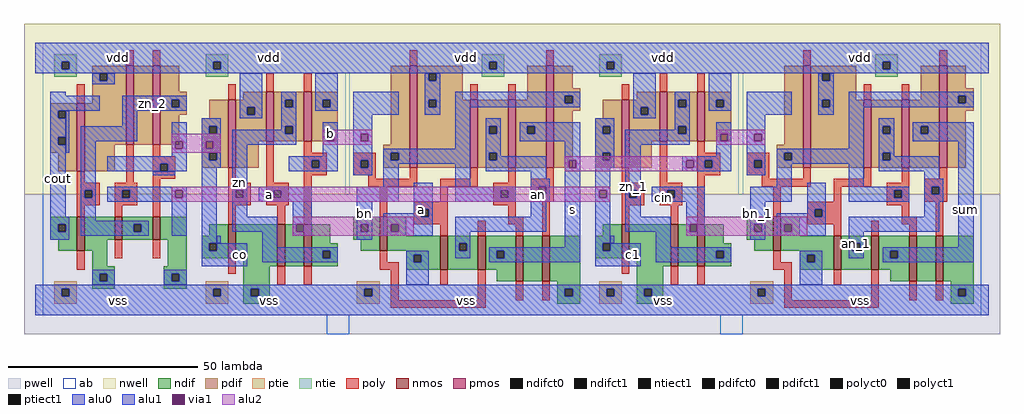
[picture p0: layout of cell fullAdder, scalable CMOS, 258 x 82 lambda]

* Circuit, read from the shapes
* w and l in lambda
.subckt fullAdder a an an_1 b bn bn_1 c1 cin co cout s sum vdd vss zn zn_1 zn_2
M1 vss zn_2 cout vss nfet w=9 l=2
M2 zn_2 c1 vss vss nfet w=6 l=2
M3 vss co zn_2 vss nfet w=6 l=2
M4 vss zn co vss nfet w=9 l=2
M5 n1 a vss vss nfet w=11 l=2
M6 zn b n1 vss nfet w=11 l=2
M7 vss b bn vss nfet w=9 l=2
M8 an a vss vss nfet w=9 l=2
M9 s b an vss nfet w=9 l=2
M10 n2 bn s vss nfet w=12 l=2
M11 vss an n2 vss nfet w=12 l=2
M12 vss zn_1 c1 vss nfet w=9 l=2
M13 n3 cin vss vss nfet w=11 l=2
M14 zn_1 s n3 vss nfet w=11 l=2
M15 vss s bn_1 vss nfet w=9 l=2
M16 an_1 cin vss vss nfet w=9 l=2
M17 sum s an_1 vss nfet w=9 l=2
M18 n4 bn_1 sum vss nfet w=12 l=2
M19 vss an_1 n4 vss nfet w=12 l=2
M20 vdd zn_2 cout vdd pfet w=18 l=2
M21 n5 c1 vdd vdd pfet w=21 l=2
M22 zn_2 co n5 vdd pfet w=21 l=2
M23 vdd zn co vdd pfet w=18 l=2
M24 zn a vdd vdd pfet w=13 l=2
M25 vdd b zn vdd pfet w=13 l=2
M26 vdd b bn vdd pfet w=27 l=2
M27 an a vdd vdd pfet w=18 l=2
M28 s bn an vdd pfet w=18 l=2
M29 bn an s vdd pfet w=27 l=2
M30 vdd zn_1 c1 vdd pfet w=18 l=2
M31 zn_1 cin vdd vdd pfet w=13 l=2
M32 vdd s zn_1 vdd pfet w=13 l=2
M33 vdd s bn_1 vdd pfet w=27 l=2
M34 an_1 cin vdd vdd pfet w=18 l=2
M35 sum bn_1 an_1 vdd pfet w=18 l=2
M36 bn_1 an_1 sum vdd pfet w=27 l=2
.ends

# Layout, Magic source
magic
tech scmos
<< ab >>
rect -35 69 213 77
rect -35 37 45 69
rect 46 37 149 69
rect 150 37 213 69
rect -35 5 213 37
rect 40 0 46 5
rect 144 0 150 5
<< nwell >>
rect -40 37 218 82
<< pwell >>
rect -40 0 218 37
<< poly >>
rect -13 71 -11 75
rect -6 71 -4 75
rect -26 61 -24 66
rect 62 71 64 75
rect 14 62 16 66
rect 24 64 26 69
rect 34 64 36 69
rect -26 40 -24 43
rect -13 40 -11 50
rect -6 47 -4 50
rect -6 45 0 47
rect -6 43 -4 45
rect -2 43 0 45
rect -6 41 0 43
rect -26 38 -20 40
rect -26 36 -24 38
rect -22 36 -20 38
rect -26 34 -20 36
rect -16 38 -10 40
rect -16 36 -14 38
rect -12 36 -10 38
rect -16 34 -10 36
rect -26 31 -24 34
rect -16 31 -14 34
rect -6 31 -4 41
rect 14 40 16 44
rect 24 40 26 51
rect 34 48 36 51
rect 34 46 40 48
rect 34 44 36 46
rect 38 44 40 46
rect 34 42 40 44
rect 47 46 53 48
rect 47 44 49 46
rect 51 44 53 46
rect 98 71 100 75
rect 78 62 80 66
rect 88 62 90 66
rect 166 71 168 75
rect 118 62 120 66
rect 128 64 130 69
rect 138 64 140 69
rect 47 42 53 44
rect 14 38 20 40
rect 14 36 16 38
rect 18 36 20 38
rect 14 34 20 36
rect 24 38 30 40
rect 24 36 26 38
rect 28 36 30 38
rect 24 34 30 36
rect 14 29 16 34
rect 27 29 29 34
rect 34 29 36 42
rect 51 41 53 42
rect 62 41 64 44
rect 78 41 80 44
rect 51 39 64 41
rect 70 39 80 41
rect 88 40 90 44
rect 98 41 100 44
rect 54 31 56 39
rect 70 35 72 39
rect 63 33 72 35
rect 84 38 90 40
rect 84 36 86 38
rect 88 36 90 38
rect 84 34 90 36
rect 94 39 100 41
rect 94 37 96 39
rect 98 37 100 39
rect 94 35 100 37
rect 118 40 120 44
rect 128 40 130 51
rect 138 48 140 51
rect 138 46 144 48
rect 138 44 140 46
rect 142 44 144 46
rect 138 42 144 44
rect 151 46 157 48
rect 151 44 153 46
rect 155 44 157 46
rect 202 71 204 75
rect 182 62 184 66
rect 192 62 194 66
rect 151 42 157 44
rect 118 38 124 40
rect 118 36 120 38
rect 122 36 124 38
rect 63 31 65 33
rect 67 31 72 33
rect -26 17 -24 22
rect -16 20 -14 25
rect -6 20 -4 25
rect 14 16 16 20
rect 63 29 72 31
rect 88 31 90 34
rect 70 26 72 29
rect 80 26 82 30
rect 88 29 92 31
rect 90 26 92 29
rect 97 26 99 35
rect 118 34 124 36
rect 128 38 134 40
rect 128 36 130 38
rect 132 36 134 38
rect 128 34 134 36
rect 118 29 120 34
rect 131 29 133 34
rect 138 29 140 42
rect 155 41 157 42
rect 166 41 168 44
rect 182 41 184 44
rect 155 39 168 41
rect 174 39 184 41
rect 192 40 194 44
rect 202 41 204 44
rect 158 31 160 39
rect 174 35 176 39
rect 167 33 176 35
rect 188 38 194 40
rect 188 36 190 38
rect 192 36 194 38
rect 188 34 194 36
rect 198 39 204 41
rect 198 37 200 39
rect 202 37 204 39
rect 198 35 204 37
rect 167 31 169 33
rect 171 31 176 33
rect 54 19 56 22
rect 27 13 29 18
rect 34 13 36 18
rect 54 17 59 19
rect 57 9 59 17
rect 70 13 72 17
rect 80 9 82 17
rect 118 16 120 20
rect 167 29 176 31
rect 192 31 194 34
rect 174 26 176 29
rect 184 26 186 30
rect 192 29 196 31
rect 194 26 196 29
rect 201 26 203 35
rect 158 19 160 22
rect 90 9 92 14
rect 97 9 99 14
rect 57 7 82 9
rect 131 13 133 18
rect 138 13 140 18
rect 158 17 163 19
rect 161 9 163 17
rect 174 13 176 17
rect 184 9 186 17
rect 194 9 196 14
rect 201 9 203 14
rect 161 7 186 9
<< ndif >>
rect -33 29 -26 31
rect -33 27 -31 29
rect -29 27 -26 29
rect -33 25 -26 27
rect -31 22 -26 25
rect -24 25 -16 31
rect -14 29 -6 31
rect -14 27 -11 29
rect -9 27 -6 29
rect -14 25 -6 27
rect -4 25 3 31
rect 47 29 54 31
rect 9 26 14 29
rect -24 22 -18 25
rect -22 18 -18 22
rect -2 18 3 25
rect 7 24 14 26
rect 7 22 9 24
rect 11 22 14 24
rect 7 20 14 22
rect 16 20 27 29
rect -22 16 -16 18
rect -22 14 -20 16
rect -18 14 -16 16
rect -22 12 -16 14
rect -3 16 3 18
rect 18 18 27 20
rect 29 18 34 29
rect 36 24 41 29
rect 47 27 49 29
rect 51 27 54 29
rect 47 25 54 27
rect 36 22 43 24
rect 49 22 54 25
rect 56 26 61 31
rect 151 29 158 31
rect 113 26 118 29
rect 56 22 70 26
rect 36 20 39 22
rect 41 20 43 22
rect 36 18 43 20
rect 61 21 70 22
rect 61 19 63 21
rect 65 19 70 21
rect -3 14 -1 16
rect 1 14 3 16
rect -3 12 3 14
rect 18 12 25 18
rect 61 17 70 19
rect 72 24 80 26
rect 72 22 75 24
rect 77 22 80 24
rect 72 17 80 22
rect 82 22 90 26
rect 82 20 85 22
rect 87 20 90 22
rect 82 17 90 20
rect 18 10 20 12
rect 22 10 25 12
rect 18 8 25 10
rect 85 14 90 17
rect 92 14 97 26
rect 99 14 107 26
rect 111 24 118 26
rect 111 22 113 24
rect 115 22 118 24
rect 111 20 118 22
rect 120 20 131 29
rect 122 18 131 20
rect 133 18 138 29
rect 140 24 145 29
rect 151 27 153 29
rect 155 27 158 29
rect 151 25 158 27
rect 140 22 147 24
rect 153 22 158 25
rect 160 26 165 31
rect 160 22 174 26
rect 140 20 143 22
rect 145 20 147 22
rect 140 18 147 20
rect 165 21 174 22
rect 165 19 167 21
rect 169 19 174 21
rect 101 12 107 14
rect 101 10 103 12
rect 105 10 107 12
rect 101 8 107 10
rect 122 12 129 18
rect 165 17 174 19
rect 176 24 184 26
rect 176 22 179 24
rect 181 22 184 24
rect 176 17 184 22
rect 186 22 194 26
rect 186 20 189 22
rect 191 20 194 22
rect 186 17 194 20
rect 122 10 124 12
rect 126 10 129 12
rect 122 8 129 10
rect 189 14 194 17
rect 196 14 201 26
rect 203 14 211 26
rect 205 12 211 14
rect 205 10 207 12
rect 209 10 211 12
rect 205 8 211 10
<< pdif >>
rect -22 69 -13 71
rect -22 67 -20 69
rect -18 67 -13 69
rect -22 61 -13 67
rect -33 59 -26 61
rect -33 57 -31 59
rect -29 57 -26 59
rect -33 52 -26 57
rect -33 50 -31 52
rect -29 50 -26 52
rect -33 48 -26 50
rect -31 43 -26 48
rect -24 50 -13 61
rect -11 50 -6 71
rect -4 64 1 71
rect -4 62 3 64
rect 18 62 24 64
rect -4 60 -1 62
rect 1 60 3 62
rect -4 58 3 60
rect -4 50 1 58
rect 9 57 14 62
rect 7 55 14 57
rect 7 53 9 55
rect 11 53 14 55
rect -24 43 -16 50
rect 7 48 14 53
rect 7 46 9 48
rect 11 46 14 48
rect 7 44 14 46
rect 16 60 24 62
rect 16 58 19 60
rect 21 58 24 60
rect 16 51 24 58
rect 26 62 34 64
rect 26 60 29 62
rect 31 60 34 62
rect 26 55 34 60
rect 26 53 29 55
rect 31 53 34 55
rect 26 51 34 53
rect 36 62 43 64
rect 36 60 39 62
rect 41 60 43 62
rect 36 51 43 60
rect 16 44 22 51
rect 57 50 62 71
rect 55 48 62 50
rect 55 46 57 48
rect 59 46 62 48
rect 55 44 62 46
rect 64 69 76 71
rect 64 67 67 69
rect 69 67 76 69
rect 64 62 76 67
rect 93 62 98 71
rect 64 60 67 62
rect 69 60 78 62
rect 64 44 78 60
rect 80 55 88 62
rect 80 53 83 55
rect 85 53 88 55
rect 80 48 88 53
rect 80 46 83 48
rect 85 46 88 48
rect 80 44 88 46
rect 90 55 98 62
rect 90 53 93 55
rect 95 53 98 55
rect 90 44 98 53
rect 100 65 105 71
rect 100 63 107 65
rect 100 61 103 63
rect 105 61 107 63
rect 122 62 128 64
rect 100 59 107 61
rect 100 44 105 59
rect 113 57 118 62
rect 111 55 118 57
rect 111 53 113 55
rect 115 53 118 55
rect 111 48 118 53
rect 111 46 113 48
rect 115 46 118 48
rect 111 44 118 46
rect 120 60 128 62
rect 120 58 123 60
rect 125 58 128 60
rect 120 51 128 58
rect 130 62 138 64
rect 130 60 133 62
rect 135 60 138 62
rect 130 55 138 60
rect 130 53 133 55
rect 135 53 138 55
rect 130 51 138 53
rect 140 62 147 64
rect 140 60 143 62
rect 145 60 147 62
rect 140 51 147 60
rect 120 44 126 51
rect 161 50 166 71
rect 159 48 166 50
rect 159 46 161 48
rect 163 46 166 48
rect 159 44 166 46
rect 168 69 180 71
rect 168 67 171 69
rect 173 67 180 69
rect 168 62 180 67
rect 197 62 202 71
rect 168 60 171 62
rect 173 60 182 62
rect 168 44 182 60
rect 184 55 192 62
rect 184 53 187 55
rect 189 53 192 55
rect 184 48 192 53
rect 184 46 187 48
rect 189 46 192 48
rect 184 44 192 46
rect 194 55 202 62
rect 194 53 197 55
rect 199 53 202 55
rect 194 44 202 53
rect 204 65 209 71
rect 204 63 211 65
rect 204 61 207 63
rect 209 61 211 63
rect 204 59 211 61
rect 204 44 209 59
<< alu1 >>
rect -37 72 215 77
rect -37 70 -30 72
rect -28 70 10 72
rect 12 70 83 72
rect 85 70 114 72
rect 116 70 187 72
rect 189 70 215 72
rect -37 69 215 70
rect -33 63 -29 64
rect -33 59 -20 63
rect -33 57 -31 59
rect -33 52 -29 57
rect -33 50 -31 52
rect -33 31 -29 50
rect -1 51 3 56
rect -1 49 0 51
rect 2 49 3 51
rect -1 47 3 49
rect -18 45 3 47
rect -18 43 -4 45
rect -2 43 3 45
rect 7 55 12 57
rect 7 53 9 55
rect 11 53 12 55
rect 47 58 59 64
rect 7 51 12 53
rect 7 49 8 51
rect 10 49 12 51
rect 7 48 12 49
rect 7 46 9 48
rect 11 46 12 48
rect 7 44 12 46
rect 39 53 43 56
rect 39 51 40 53
rect 42 51 43 53
rect -33 29 -28 31
rect -33 27 -31 29
rect -29 27 -28 29
rect -33 25 -28 27
rect -18 38 3 39
rect -18 36 -14 38
rect -12 36 0 38
rect 2 36 3 38
rect -18 35 3 36
rect -1 26 3 35
rect 7 24 11 44
rect 39 47 43 51
rect 30 46 43 47
rect 30 44 36 46
rect 38 44 43 46
rect 30 43 43 44
rect 47 53 52 58
rect 47 51 49 53
rect 51 51 52 53
rect 47 46 52 51
rect 47 44 49 46
rect 51 44 52 46
rect 47 42 52 44
rect 22 38 36 39
rect 22 36 26 38
rect 28 36 36 38
rect 22 35 36 36
rect 7 22 9 24
rect 11 22 19 24
rect 7 18 19 22
rect 31 29 36 35
rect 31 27 32 29
rect 34 27 36 29
rect 31 26 36 27
rect 63 33 68 40
rect 91 55 107 56
rect 91 53 93 55
rect 95 53 107 55
rect 91 51 107 53
rect 103 46 107 51
rect 103 44 104 46
rect 106 44 107 46
rect 63 32 65 33
rect 55 31 65 32
rect 67 31 68 33
rect 55 29 68 31
rect 55 27 57 29
rect 59 27 68 29
rect 55 26 68 27
rect 103 23 107 44
rect 83 22 107 23
rect 83 20 85 22
rect 87 20 107 22
rect 83 19 107 20
rect 111 55 116 57
rect 111 53 113 55
rect 115 53 116 55
rect 151 58 163 64
rect 111 48 116 53
rect 111 46 113 48
rect 115 46 116 48
rect 111 44 116 46
rect 143 53 147 56
rect 143 51 144 53
rect 146 51 147 53
rect 111 38 115 44
rect 111 36 112 38
rect 114 36 115 38
rect 111 24 115 36
rect 143 47 147 51
rect 134 46 147 47
rect 134 44 135 46
rect 137 44 140 46
rect 142 44 147 46
rect 134 43 147 44
rect 151 53 156 58
rect 151 51 153 53
rect 155 51 156 53
rect 151 46 156 51
rect 151 44 153 46
rect 155 44 156 46
rect 151 42 156 44
rect 126 38 140 39
rect 126 36 130 38
rect 132 36 140 38
rect 126 35 140 36
rect 111 22 113 24
rect 115 22 123 24
rect 111 18 123 22
rect 135 29 140 35
rect 135 27 136 29
rect 138 27 140 29
rect 135 26 140 27
rect 167 33 172 40
rect 195 55 211 56
rect 195 53 197 55
rect 199 53 211 55
rect 195 51 211 53
rect 167 32 169 33
rect 159 31 169 32
rect 171 31 172 33
rect 159 29 172 31
rect 159 27 161 29
rect 163 27 172 29
rect 159 26 172 27
rect 207 23 211 51
rect 187 22 211 23
rect 187 20 189 22
rect 191 20 211 22
rect 187 19 211 20
rect -37 12 215 13
rect -37 10 -30 12
rect -28 10 10 12
rect 12 10 20 12
rect 22 10 50 12
rect 52 10 103 12
rect 105 10 114 12
rect 116 10 124 12
rect 126 10 154 12
rect 156 10 207 12
rect 209 10 215 12
rect -37 5 215 10
<< alu2 >>
rect 39 53 52 54
rect -1 51 12 53
rect -1 49 0 51
rect 2 49 8 51
rect 10 49 12 51
rect 39 51 40 53
rect 42 51 49 53
rect 51 51 52 53
rect 39 50 52 51
rect 143 53 156 54
rect 143 51 144 53
rect 146 51 153 53
rect 155 51 156 53
rect 143 50 156 51
rect -1 48 12 49
rect 103 46 138 47
rect 103 44 104 46
rect 106 44 135 46
rect 137 44 138 46
rect 103 43 138 44
rect -1 38 115 39
rect -1 36 0 38
rect 2 36 112 38
rect 114 36 115 38
rect -1 35 115 36
rect 31 29 63 31
rect 31 27 32 29
rect 34 27 57 29
rect 59 27 63 29
rect 31 26 63 27
rect 135 29 167 31
rect 135 27 136 29
rect 138 27 161 29
rect 163 27 167 29
rect 135 26 167 27
<< ptie >>
rect -32 12 -26 14
rect 8 12 14 14
rect -32 10 -30 12
rect -28 10 -26 12
rect -32 8 -26 10
rect 8 10 10 12
rect 12 10 14 12
rect 8 8 14 10
rect 48 12 54 14
rect 48 10 50 12
rect 52 10 54 12
rect 48 8 54 10
rect 112 12 118 14
rect 112 10 114 12
rect 116 10 118 12
rect 112 8 118 10
rect 152 12 158 14
rect 152 10 154 12
rect 156 10 158 12
rect 152 8 158 10
<< ntie >>
rect -32 72 -26 74
rect -32 70 -30 72
rect -28 70 -26 72
rect 8 72 14 74
rect -32 68 -26 70
rect 8 70 10 72
rect 12 70 14 72
rect 81 72 87 74
rect 8 68 14 70
rect 81 70 83 72
rect 85 70 87 72
rect 112 72 118 74
rect 81 68 87 70
rect 112 70 114 72
rect 116 70 118 72
rect 185 72 191 74
rect 112 68 118 70
rect 185 70 187 72
rect 189 70 191 72
rect 185 68 191 70
<< nmos >>
rect -26 22 -24 31
rect -16 25 -14 31
rect -6 25 -4 31
rect 14 20 16 29
rect 27 18 29 29
rect 34 18 36 29
rect 54 22 56 31
rect 70 17 72 26
rect 80 17 82 26
rect 90 14 92 26
rect 97 14 99 26
rect 118 20 120 29
rect 131 18 133 29
rect 138 18 140 29
rect 158 22 160 31
rect 174 17 176 26
rect 184 17 186 26
rect 194 14 196 26
rect 201 14 203 26
<< pmos >>
rect -26 43 -24 61
rect -13 50 -11 71
rect -6 50 -4 71
rect 14 44 16 62
rect 24 51 26 64
rect 34 51 36 64
rect 62 44 64 71
rect 78 44 80 62
rect 88 44 90 62
rect 98 44 100 71
rect 118 44 120 62
rect 128 51 130 64
rect 138 51 140 64
rect 166 44 168 71
rect 182 44 184 62
rect 192 44 194 62
rect 202 44 204 71
<< polyct0 >>
rect -24 36 -22 38
rect 16 36 18 38
rect 86 36 88 38
rect 96 37 98 39
rect 120 36 122 38
rect 190 36 192 38
rect 200 37 202 39
<< polyct1 >>
rect -4 43 -2 45
rect -14 36 -12 38
rect 36 44 38 46
rect 49 44 51 46
rect 26 36 28 38
rect 140 44 142 46
rect 153 44 155 46
rect 65 31 67 33
rect 130 36 132 38
rect 169 31 171 33
<< ndifct0 >>
rect -11 27 -9 29
rect -20 14 -18 16
rect 49 27 51 29
rect 39 20 41 22
rect 63 19 65 21
rect -1 14 1 16
rect 75 22 77 24
rect 153 27 155 29
rect 143 20 145 22
rect 167 19 169 21
rect 179 22 181 24
<< ndifct1 >>
rect -31 27 -29 29
rect 9 22 11 24
rect 85 20 87 22
rect 20 10 22 12
rect 113 22 115 24
rect 103 10 105 12
rect 189 20 191 22
rect 124 10 126 12
rect 207 10 209 12
<< ntiect1 >>
rect -30 70 -28 72
rect 10 70 12 72
rect 83 70 85 72
rect 114 70 116 72
rect 187 70 189 72
<< ptiect1 >>
rect -30 10 -28 12
rect 10 10 12 12
rect 50 10 52 12
rect 114 10 116 12
rect 154 10 156 12
<< pdifct0 >>
rect -20 67 -18 69
rect -1 60 1 62
rect 19 58 21 60
rect 29 60 31 62
rect 29 53 31 55
rect 39 60 41 62
rect 57 46 59 48
rect 67 67 69 69
rect 67 60 69 62
rect 83 53 85 55
rect 83 46 85 48
rect 103 61 105 63
rect 123 58 125 60
rect 133 60 135 62
rect 133 53 135 55
rect 143 60 145 62
rect 161 46 163 48
rect 171 67 173 69
rect 171 60 173 62
rect 187 53 189 55
rect 187 46 189 48
rect 207 61 209 63
<< pdifct1 >>
rect -31 57 -29 59
rect -31 50 -29 52
rect 9 53 11 55
rect 9 46 11 48
rect 93 53 95 55
rect 113 53 115 55
rect 113 46 115 48
rect 197 53 199 55
<< alu0 >>
rect -22 67 -20 69
rect -18 67 -16 69
rect -22 66 -16 67
rect -14 62 3 63
rect -14 60 -1 62
rect 1 60 3 62
rect -14 59 3 60
rect 17 60 23 69
rect -29 48 -28 59
rect -14 55 -10 59
rect 17 58 19 60
rect 21 58 23 60
rect 17 57 23 58
rect 28 62 32 64
rect 28 60 29 62
rect 31 60 32 62
rect -25 51 -10 55
rect -25 38 -21 51
rect 28 55 32 60
rect 37 62 43 69
rect 66 67 67 69
rect 69 67 70 69
rect 37 60 39 62
rect 41 60 43 62
rect 37 59 43 60
rect 66 62 70 67
rect 66 60 67 62
rect 69 60 70 62
rect 66 58 70 60
rect 74 63 107 64
rect 74 61 103 63
rect 105 61 107 63
rect 74 60 107 61
rect 121 60 127 69
rect 28 54 29 55
rect 15 53 29 54
rect 31 53 32 55
rect 15 50 32 53
rect -6 42 0 43
rect -25 36 -24 38
rect -22 36 -21 38
rect -25 30 -21 36
rect -25 29 -7 30
rect -25 27 -11 29
rect -9 27 -7 29
rect -25 26 -7 27
rect 15 38 19 50
rect 74 49 78 60
rect 121 58 123 60
rect 125 58 127 60
rect 121 57 127 58
rect 132 62 136 64
rect 132 60 133 62
rect 135 60 136 62
rect 55 48 78 49
rect 55 46 57 48
rect 59 46 78 48
rect 55 45 78 46
rect 55 39 59 45
rect 15 36 16 38
rect 18 36 19 38
rect 15 31 19 36
rect 15 27 27 31
rect 11 24 12 26
rect 23 23 27 27
rect 48 35 59 39
rect 48 29 52 35
rect 74 39 78 45
rect 82 55 86 57
rect 82 53 83 55
rect 85 53 86 55
rect 82 48 86 53
rect 82 46 83 48
rect 85 47 86 48
rect 85 46 98 47
rect 82 43 98 46
rect 94 41 98 43
rect 94 39 99 41
rect 74 38 90 39
rect 74 36 86 38
rect 88 36 90 38
rect 74 35 90 36
rect 94 37 96 39
rect 98 37 99 39
rect 94 35 99 37
rect 48 27 49 29
rect 51 27 52 29
rect 48 25 52 27
rect 94 31 98 35
rect 74 27 98 31
rect 74 24 78 27
rect 23 22 43 23
rect 74 22 75 24
rect 77 22 78 24
rect 23 20 39 22
rect 41 20 43 22
rect 23 19 43 20
rect 61 21 67 22
rect 61 19 63 21
rect 65 19 67 21
rect 74 20 78 22
rect 132 55 136 60
rect 141 62 147 69
rect 170 67 171 69
rect 173 67 174 69
rect 141 60 143 62
rect 145 60 147 62
rect 141 59 147 60
rect 170 62 174 67
rect 170 60 171 62
rect 173 60 174 62
rect 170 58 174 60
rect 178 63 211 64
rect 178 61 207 63
rect 209 61 211 63
rect 178 60 211 61
rect 132 54 133 55
rect 119 53 133 54
rect 135 53 136 55
rect 119 50 136 53
rect 119 38 123 50
rect 178 49 182 60
rect 159 48 182 49
rect 159 46 161 48
rect 163 46 182 48
rect 159 45 182 46
rect 159 39 163 45
rect 119 36 120 38
rect 122 36 123 38
rect 119 31 123 36
rect 119 27 131 31
rect 115 24 116 26
rect -22 16 -16 17
rect -22 14 -20 16
rect -18 14 -16 16
rect -22 13 -16 14
rect -3 16 3 17
rect -3 14 -1 16
rect 1 14 3 16
rect -3 13 3 14
rect 61 13 67 19
rect 127 23 131 27
rect 152 35 163 39
rect 152 29 156 35
rect 178 39 182 45
rect 186 55 190 57
rect 186 53 187 55
rect 189 53 190 55
rect 186 48 190 53
rect 186 46 187 48
rect 189 47 190 48
rect 189 46 202 47
rect 186 43 202 46
rect 198 41 202 43
rect 198 39 203 41
rect 178 38 194 39
rect 178 36 190 38
rect 192 36 194 38
rect 178 35 194 36
rect 198 37 200 39
rect 202 37 203 39
rect 198 35 203 37
rect 152 27 153 29
rect 155 27 156 29
rect 152 25 156 27
rect 198 31 202 35
rect 178 27 202 31
rect 178 24 182 27
rect 127 22 147 23
rect 178 22 179 24
rect 181 22 182 24
rect 127 20 143 22
rect 145 20 147 22
rect 127 19 147 20
rect 165 21 171 22
rect 165 19 167 21
rect 169 19 171 21
rect 178 20 182 22
rect 165 13 171 19
<< via1 >>
rect 0 49 2 51
rect 8 49 10 51
rect 40 51 42 53
rect 0 36 2 38
rect 49 51 51 53
rect 32 27 34 29
rect 104 44 106 46
rect 57 27 59 29
rect 144 51 146 53
rect 112 36 114 38
rect 135 44 137 46
rect 153 51 155 53
rect 136 27 138 29
rect 161 27 163 29
<< labels >>
rlabel alu0 50 32 50 32 6 bn
rlabel alu0 96 37 96 37 6 an
rlabel alu1 65 33 65 33 6 a
rlabel alu1 77 9 77 9 6 vss
rlabel alu1 77 73 77 73 6 vdd
rlabel alu1 41 53 41 53 6 b
rlabel alu1 25 73 25 73 6 vdd
rlabel alu1 25 37 25 37 6 a
rlabel alu1 25 9 25 9 6 vss
rlabel alu0 17 40 17 40 6 zn
rlabel alu1 129 9 129 9 6 vss
rlabel alu1 129 73 129 73 6 vdd
rlabel alu1 209 33 209 33 1 sum
rlabel alu1 181 73 181 73 6 vdd
rlabel alu1 181 9 181 9 6 vss
rlabel alu1 105 33 105 33 1 s
rlabel alu1 129 36 129 36 1 cin
rlabel alu1 17 21 17 21 1 co
rlabel alu0 121 39 121 39 1 zn_1
rlabel alu0 154 32 154 32 1 bn_1
rlabel alu0 180 24 180 24 1 an_1
rlabel alu1 -15 73 -15 73 6 vdd
rlabel alu1 -15 9 -15 9 6 vss
rlabel alu1 121 21 121 21 1 c1
rlabel alu1 -31 41 -31 41 1 cout
rlabel alu0 -6 61 -6 61 1 zn_2
<< end >>
